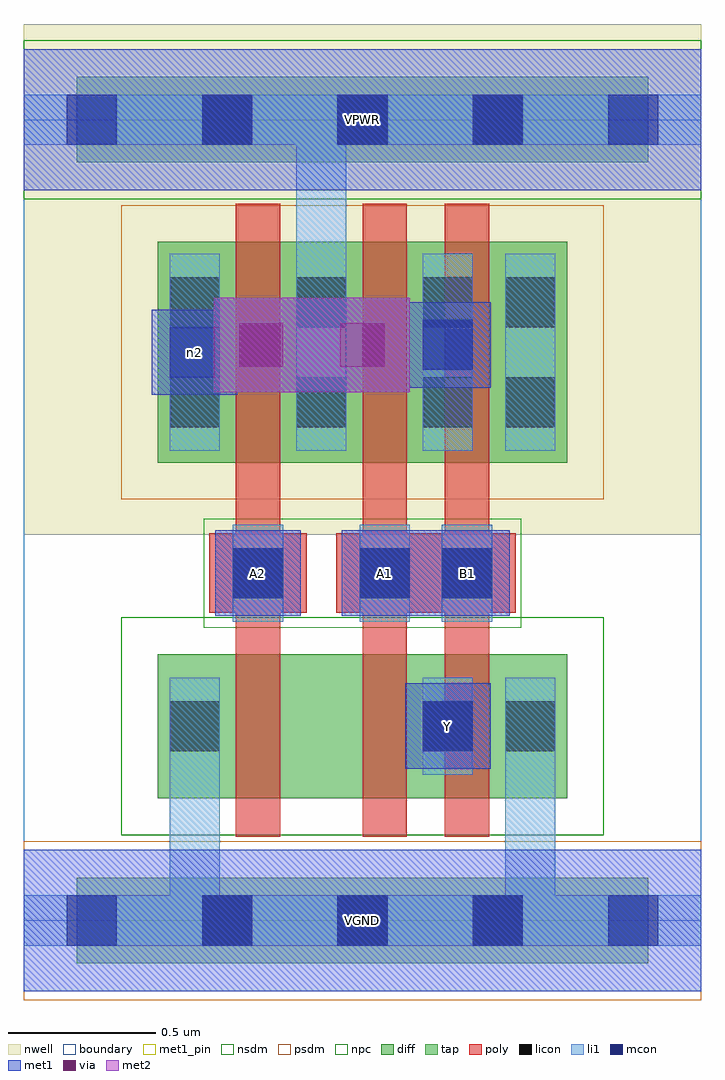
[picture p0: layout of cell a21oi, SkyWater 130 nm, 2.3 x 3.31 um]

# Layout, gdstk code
import gdstk
lib = gdstk.Library(unit=1e-6, precision=1e-09)
def R(c, l, rs):  # rectangles x0, y0, x1, y1
    for r in rs: c.add(gdstk.rectangle(r[:2], r[2:], *l))
def A(c, l, x, y, w, h, nx, ny, dx, dy):  # array of equal rectangles
    R(c, l, [(x+i*dx, y+j*dy, x+i*dx+w, y+j*dy+h) for i in range(nx) for j in range(ny)])
nwell = (64, 20)
diff = (65, 20)
tap = (65, 44)
poly = (66, 20)
licon = (66, 44)
li1 = (67, 20)
mcon = (67, 44)
met1_pin = (68, 16)
met1 = (68, 20)
via = (68, 44)
met2 = (69, 20)
nsdm = (93, 44)
psdm = (94, 20)
npc = (95, 20)
boundary = (235, 4)

a21oi = lib.new_cell('a21oi')
R(a21oi, nwell, [(0,1.31,2.3,3.045)])
R(a21oi, diff, [(0.455,0.415,1.845,0.905), (0.455,1.555,1.845,2.305)])
R(a21oi, tap, [(0.18,-0.145,2.12,0.145), (0.18,2.575,2.12,2.865)])
R(a21oi, poly, [(0.72,0.285,0.87,2.435), (1.15,0.285,1.3,2.435), (1.43,0.285,1.58,2.435), (0.63,1.045,0.96,1.315), (1.06,1.045,1.39,1.315), (1.34,1.045,1.67,1.315)])
A(a21oi, licon, 0.605, -0.085, 0.17, 0.17, 3, 2, 0.46, 2.72)
A(a21oi, licon, 0.495, 1.675, 0.17, 0.17, 3, 2, 0.43, 0.34)
R(a21oi, licon, [(0.495,0.575,0.665,0.745), (1.355,0.575,1.525,0.745), (1.635,0.575,1.805,0.745), (0.71,1.095,0.88,1.265), (1.14,1.095,1.31,1.265), (1.42,1.095,1.59,1.265), (1.635,1.675,1.805,1.845), (1.635,2.015,1.805,2.185)])
A(a21oi, li1, 0.495, 1.595, 0.17, 0.67, 3, 1, 0.43, 0)
R(a21oi, li1, [(0,-0.085,2.3,0.085), (0.495,-0.085,0.665,0.825), (1.635,-0.085,1.805,0.825), (0.495,0.495,0.665,0.825), (1.355,0.495,1.525,0.825), (1.635,0.495,1.805,0.825), (0.71,1.015,0.88,1.345), (1.14,1.015,1.31,1.345), (1.42,1.015,1.59,1.345), (0.925,1.595,1.095,2.805), (1.635,1.595,1.805,2.265), (0,2.635,2.3,2.805)])
A(a21oi, mcon, 0.145, -0.085, 0.17, 0.17, 5, 2, 0.46, 2.72)
R(a21oi, mcon, [(1.355,0.575,1.525,0.745), (0.71,1.095,0.88,1.265), (1.14,1.095,1.31,1.265), (1.42,1.095,1.59,1.265), (0.495,1.845,0.665,2.015), (1.355,1.87,1.525,2.04)])
R(a21oi, met1_pin, [(0,-0.24,2.3,0.24), (1.295,0.515,1.585,0.805), (0.65,1.035,0.94,1.325), (1.08,1.035,1.37,1.325), (1.36,1.035,1.65,1.325), (0,2.48,2.3,2.96)])
R(a21oi, met1, [(0,-0.24,2.3,0.24), (1.295,0.515,1.585,0.805), (0.65,1.035,0.94,1.325), (1.08,1.035,1.37,1.325), (1.36,1.035,1.65,1.325), (0.435,1.785,0.725,2.075), (0.645,1.795,0.965,2.115), (0.965,1.795,0.99,2.115), (0.99,1.795,1.31,2.115), (1.295,1.81,1.585,2.1), (0.505,1.885,0.645,2.025), (0.505,1.885,0.875,2.025), (0.875,1.885,0.99,2.025), (0.965,1.885,1.08,2.025), (1.08,1.885,1.335,2.025), (1.195,1.885,1.51,2.025), (0,2.48,2.3,2.96)])
R(a21oi, via, [(0.73,1.88,0.88,2.03), (1.075,1.88,1.225,2.03)])
R(a21oi, met2, [(0.645,1.795,0.965,2.115), (0.965,1.795,0.99,2.115), (0.99,1.795,1.31,2.115), (0.735,1.885,1.22,2.025)])
R(a21oi, nsdm, [(0.33,0.29,1.97,1.03), (0,2.45,2.3,2.99)])
R(a21oi, psdm, [(0,-0.27,2.3,0.27), (0.33,1.43,1.97,2.43)])
R(a21oi, npc, [(0.61,0.995,1.69,1.365)])
R(a21oi, boundary, [(0,0,2.3,2.72)])
a21oi.add(gdstk.Label('n2', (0.58,1.93), layer=67, texttype=5))
a21oi.add(gdstk.Label('A1', (1.225,1.18), layer=68, texttype=5))
a21oi.add(gdstk.Label('A2', (0.795,1.18), layer=68, texttype=5))
a21oi.add(gdstk.Label('B1', (1.505,1.18), layer=68, texttype=5))
a21oi.add(gdstk.Label('Y', (1.44,0.66), layer=68, texttype=5))
a21oi.add(gdstk.Label('VPWR', (1.15,2.72), layer=68, texttype=5))
a21oi.add(gdstk.Label('VGND', (1.15,0), layer=68, texttype=5))
a21oi.add(gdstk.Label('A1', (1.225,1.18), layer=68, texttype=16))
a21oi.add(gdstk.Label('A2', (0.795,1.18), layer=68, texttype=16))
a21oi.add(gdstk.Label('B1', (1.505,1.18), layer=68, texttype=16))
a21oi.add(gdstk.Label('Y', (1.44,0.66), layer=68, texttype=16))
a21oi.add(gdstk.Label('VPWR', (1.15,2.72), layer=68, texttype=16))
a21oi.add(gdstk.Label('VGND', (1.15,0), layer=68, texttype=16))

lib.write_gds('a21oi.gds')
